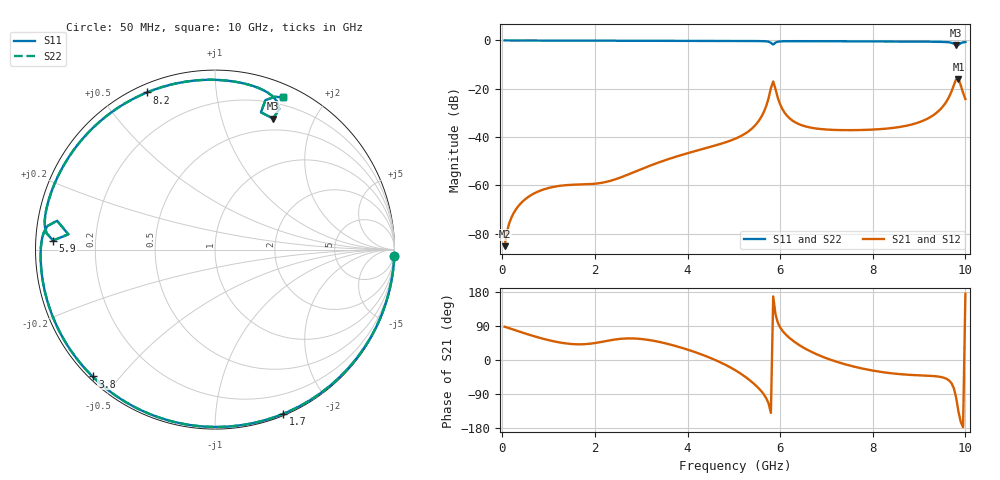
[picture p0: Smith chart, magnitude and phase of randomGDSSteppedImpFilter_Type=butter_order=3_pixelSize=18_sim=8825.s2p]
! freq	dB(S11)	phase(S11)	dB(S12)	phase(S12)
!  dB(S21)	phase(S21)	dB(S22)	phase(S22)
!S-par simulation data
#  GHz  S  DB  R 50
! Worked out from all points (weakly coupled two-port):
!   200 points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, 50 MHz to 10 GHz, reference 50 ohm
!   highest |S21| = -15.91 dB at 9.85 GHz (marker M1); lowest = -85.2 dB at 50 MHz (marker M2)
!   lowest |S11| = -2.0 dB at 9.8 GHz (marker M3), VSWR 8.92, Z = 18.3 + j73.7 ohm
!   |S11| at or under -10 dB: nowhere
!   |S22| runs from -2.0 to 0.0 dB; largest |S21 - S12| = 0
!   S11 on the Smith chart (normalised r, x): 50 MHz: 0, -55; 1.7 GHz: 0.02, -1.50; 3.8 GHz: 0.01, -0.42; 5.9 GHz: 0.05, +0.03; 8.2 GHz: 0.03, +0.66; 10 GHz: 0.12, +1.53
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0.05  -0.00 -2.1  -85.23 87.8  -85.23 87.8  -0.00 -2.1
0.3  -0.02 -12.5  -69.83 77.7  -69.83 77.7  -0.02 -12.5
0.6  -0.03 -24.8  -64.33 65.9  -64.33 65.9  -0.03 -24.8
1.7  -0.08 -67.4  -59.66 41.4  -59.66 41.4  -0.08 -67.4
1.75  -0.08 -69.2  -59.63 41.6  -59.63 41.6  -0.08 -69.2
2.5  -0.11 -94.9  -57.14 55.1  -57.14 55.1  -0.11 -94.9
3.4  -0.14 -122.6  -50.40 47.4  -50.40 47.4  -0.14 -122.6
3.8  -0.15 -134.0  -47.86 34.9  -47.86 34.9  -0.15 -134.0
5.05  -0.21 -167.3  -40.55 -28.4  -40.55 -28.4  -0.21 -167.3
5.5  -0.25 -179.3  -34.29 -70.2  -34.29 -70.2  -0.25 -179.3
5.7  -0.37 174.2  -27.11 -100.9  -27.11 -100.9  -0.37 174.2
5.85  -1.71 174.1  -16.99 167.9  -16.99 167.9  -1.71 174.0
5.9  -0.88 176.8  -20.15 120.4  -20.15 120.4  -0.88 176.8
6.15  -0.30 167.3  -31.21 63.9  -31.21 63.9  -0.30 167.3
6.7  -0.31 152.7  -36.25 20.0  -36.25 20.0  -0.31 152.7
8.2  -0.41 113.5  -36.68 -31.9  -36.68 -31.9  -0.41 113.4
8.35  -0.42 109.3  -36.43 -34.3  -36.43 -34.3  -0.42 109.3
9.35  -0.54 80.2  -30.38 -42.8  -30.38 -42.8  -0.54 80.2
9.6  -0.69 71.6  -25.03 -50.1  -25.03 -50.1  -0.69 71.5
9.8  -1.96 66.1  -16.02 -99.2  -16.02 -99.2  -1.96 66.1
9.85  -1.86 71.5  -15.91 -136.0  -15.91 -136.0  -1.87 71.5
10  -0.65 66.1  -24.27 175.1  -24.27 175.1  -0.65 66.1
